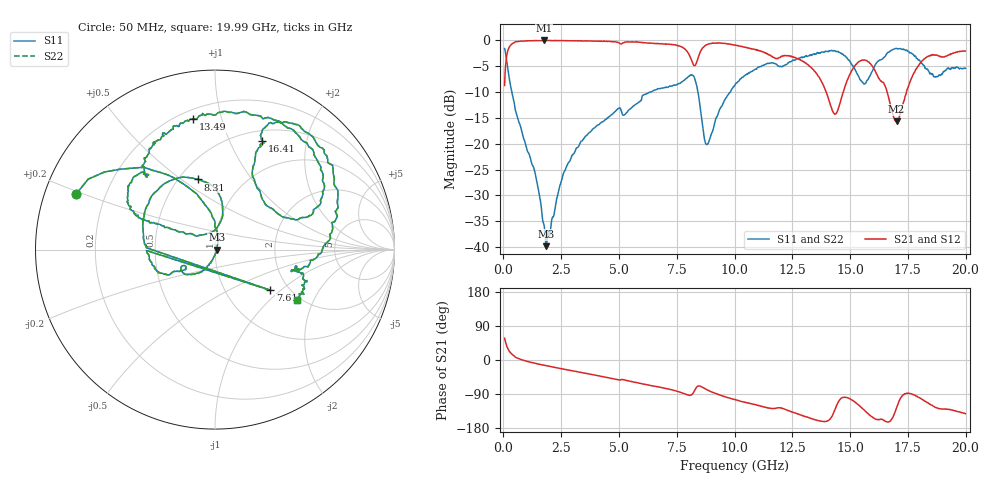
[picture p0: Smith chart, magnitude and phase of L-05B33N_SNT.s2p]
! Data Taken on a HP 8720C VNA using a shunt-through fixture with TRL* de-embedding
#	mhz	s	ma	r	50
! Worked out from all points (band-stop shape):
!   998 points, 50 MHz to 19.99 GHz, reference 50 ohm
!   highest |S21| = -0.02 dB at 1.75 GHz (marker M1); lowest = -15.7 dB at 17.01 GHz (marker M2)
!   |S21| within 3 dB of the highest: 139.4 MHz to 8.059 GHz (7.919 GHz wide, 193 % of centre); 8.452 GHz to 11.58 GHz (3.131 GHz wide, 31.3 % of centre)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
!   lowest |S11| = -39.8 dB at 1.85 GHz (marker M3), VSWR 1.02, Z = 51 + j0.0348 ohm
!   |S11| at or under -10 dB: 362.7 MHz to 6.339 GHz (5.976 GHz wide, 178 % of centre); 6.366052 GHz to 6.374858 GHz (8.806 MHz wide, 0.138 % of centre); 8.417 GHz to 9.823 GHz (1.406 GHz wide, 15.4 % of centre)
!   |S22| runs from -39.8 to -1.6 dB; largest |S21 - S12| = 0
!   S11 on the Smith chart (normalised r, x): 50 MHz: 0.09, +0.19; 7.61 GHz: 1.61, -0.86; 8.31 GHz: 0.62, +0.58; 13.49 GHz: 0.25, +0.81; 16.41 GHz: 0.62, +1.33; 19.99 GHz: 1.90, -1.50
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50  0.8326 158.0  0.3657 57.6  0.3657 57.6  0.8326 158.0
450  0.257 102.8  0.946 11.3  0.946 11.3  0.257 102.8
1750  0.01655 36.0  0.9975 -13.7  0.9975 -13.7  0.01655 36.0
1850  0.01019 1.9  0.996 -14.9  0.996 -14.9  0.01019 1.9
3390  0.1061 -113.8  0.9872 -33.2  0.9872 -33.2  0.1061 -113.8
6710  0.3404 -157.8  0.9304 -71.1  0.9304 -71.1  0.3404 -157.8
7610  0.3829 -36.3  0.8818 -84.1  0.8818 -84.1  0.3829 -36.3
8010  0.4483 149.6  0.7455 -92.7  0.7455 -92.7  0.4483 149.6
8310  0.4027 103.7  0.5772 -76.4  0.5772 -76.4  0.4027 103.7
8810  0.09807 112.4  0.9069 -78.6  0.9069 -78.6  0.09807 112.4
10030  0.374 156.2  0.8964 -104.7  0.8964 -104.7  0.374 156.2
11410  0.5953 144.4  0.7419 -125.7  0.7419 -125.7  0.5953 144.4
13350  0.73 105.4  0.5371 -154.9  0.5371 -154.9  0.73 105.4
13490  0.7377 99.5  0.4962 -157.9  0.4962 -157.9  0.7377 99.5
14310  0.7966 56.5  0.196 -136.4  0.196 -136.4  0.7966 56.5
14710  0.7239 33.6  0.3179 -98.8  0.3179 -98.8  0.7239 33.6
15350  0.4577 21.9  0.6127 -117.7  0.6127 -117.7  0.4577 21.9
16410  0.6614 66.7  0.3936 -156.9  0.3936 -156.9  0.6614 66.7
16670  0.7729 66.3  0.2777 -163.6  0.2777 -163.6  0.7729 66.3
17010  0.8342 55.3  0.1646 -126.5  0.1646 -126.5  0.8342 55.3
18210  0.5646 -4.8  0.664 -107.5  0.664 -107.5  0.5646 -4.8
19990  0.5362 -31.7  0.7881 -141.6  0.7881 -141.6  0.5362 -31.7
